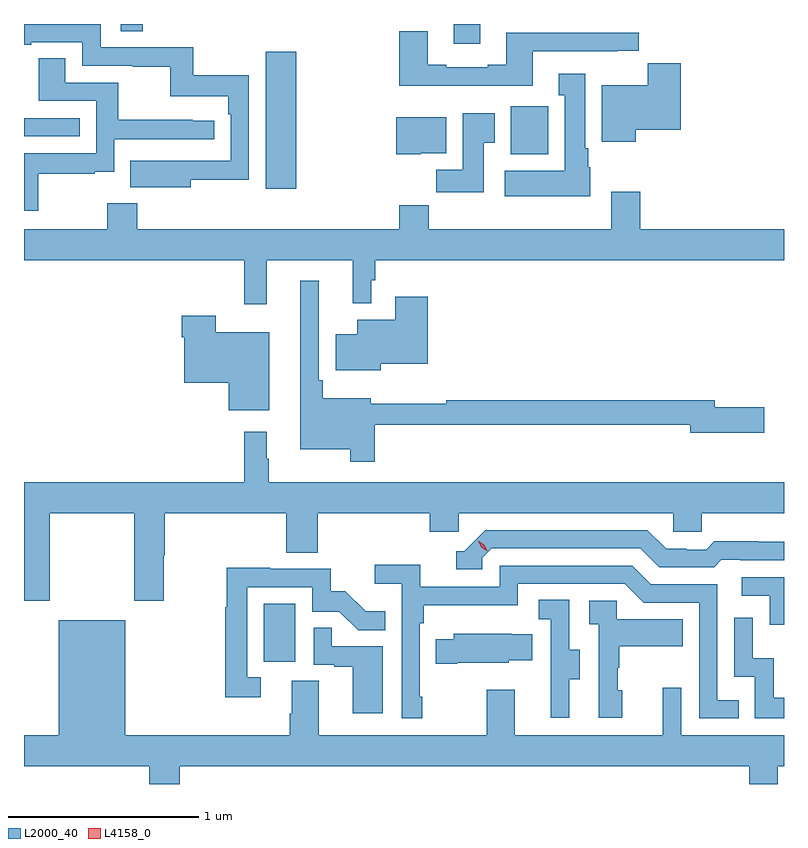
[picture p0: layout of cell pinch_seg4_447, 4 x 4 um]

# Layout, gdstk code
import gdstk
lib = gdstk.Library(unit=1e-6, precision=1e-09)
def R(c, l, rs):  # rectangles x0, y0, x1, y1
    for r in rs: c.add(gdstk.rectangle(r[:2], r[2:], *l))
def P(c, l, *ps):  # polygons
    for p in ps: c.add(gdstk.Polygon(p, *l))
L2000_40 = (2000, 40)
L4158_0 = (4158, 0)

pinch_seg4_447 = lib.new_cell('pinch_seg4_447')
R(pinch_seg4_447, L2000_40, [(926.336,782.718,926.5,783.025), (926.345,785.208,926.506,785.929), (927.635,785.39,927.831,785.641), (925.073,785.484,925.367,785.58), (927.335,785.97,927.475,786.075), (925.581,786.037,925.697,786.075)])
P(pinch_seg4_447, L2000_40, [(925.951,785.254),(926.256,785.254),(926.256,785.806),(925.963,785.806),(925.963,785.952),(925.476,785.952),(925.476,786.075),(925.073,786.075),(925.073,785.967),(925.111,785.967),(925.111,785.979),(925.38,785.979),(925.38,785.856),(925.645,785.856),(925.645,785.851),(925.842,785.851),(925.842,785.696),(926.147,785.696),(926.147,785.6),(926.16,785.6),(926.16,785.355),(925.847,785.355),(925.847,785.356),(925.633,785.356),(925.633,785.216),(925.951,785.216)],
  [(927.751,785.931),(928.199,785.931),(928.199,785.933),(928.308,785.933),(928.308,786.028),(927.611,786.028),(927.611,785.86),(927.515,785.86),(927.515,785.847),(927.295,785.847),(927.295,785.86),(927.199,785.86),(927.199,786.037),(927.047,786.037),(927.047,785.75),(927.751,785.75)],
  [(925.147,785.286),(925.445,785.286),(925.445,785.297),(925.548,785.297),(925.548,785.469),(926.074,785.469),(926.074,785.565),(925.961,785.565),(925.961,785.57),(925.568,785.57),(925.568,785.766),(925.291,785.766),(925.291,785.894),(925.151,785.894),(925.151,785.67),(925.452,785.67),(925.452,785.394),(925.073,785.394),(925.073,785.091),(925.147,785.091)],
  [(928.294,785.519),(928.529,785.519),(928.529,785.868),(928.355,785.868),(928.355,785.752),(928.115,785.752),(928.115,785.456),(928.294,785.456)],
  [(928.054,785.322),(928.042,785.322),(928.042,785.422),(928.027,785.422),(928.027,785.812),(927.887,785.812),(927.887,785.699),(927.92,785.699),(927.92,785.302),(927.603,785.302),(927.603,785.168),(928.054,785.168)],
  [(927.493,785.449),(927.55,785.449),(927.55,785.605),(927.383,785.605),(927.383,785.308),(927.244,785.308),(927.244,785.19),(927.493,785.19)],
  [(927.162,785.396),(927.295,785.396),(927.295,785.584),(927.032,785.584),(927.032,785.39),(927.162,785.39)],
  [(926.351,784.832),(926.804,784.832),(926.804,784.604),(926.901,784.604),(926.901,784.726),(926.921,784.726),(926.921,784.832),(929.073,784.832),(929.073,784.996),(928.316,784.996),(928.316,785.191),(928.163,785.191),(928.163,784.996),(927.203,784.996),(927.203,785.12),(927.047,785.12),(927.047,784.996),(925.67,784.996),(925.67,785.131),(925.51,785.131),(925.51,784.996),(925.073,784.996),(925.073,784.832),(926.233,784.832),(926.233,784.599),(926.351,784.599)],
  [(926.918,783.966),(928.58,783.966),(928.58,783.923),(928.969,783.923),(928.969,784.058),(928.708,784.058),(928.708,784.094),(927.295,784.094),(927.295,784.076),(926.899,784.076),(926.899,784.105),(926.645,784.105),(926.645,784.201),(926.625,784.201),(926.625,784.723),(926.528,784.723),(926.528,783.836),(926.79,783.836),(926.79,783.771),(926.918,783.771)],
  [(926.95,784.286),(927.197,784.286),(927.197,784.639),(927.026,784.639),(927.026,784.519),(926.828,784.519),(926.828,784.441),(926.714,784.441),(926.714,784.253),(926.95,784.253)],
  [(926.365,784.453),(926.082,784.453),(926.082,784.54),(925.904,784.54),(925.904,784.427),(925.916,784.427),(925.916,784.187),(926.15,784.187),(926.15,784.043),(926.365,784.043)],
  [(925.209,783.5),(925.654,783.5),(925.654,783.039),(925.809,783.039),(925.809,783.278),(925.814,783.278),(925.814,783.5),(926.453,783.5),(926.453,783.292),(926.618,783.292),(926.618,783.5),(927.209,783.5),(927.209,783.402),(927.36,783.402),(927.36,783.5),(928.491,783.5),(928.491,783.402),(928.641,783.402),(928.641,783.5),(929.073,783.5),(929.073,783.664),(926.362,783.664),(926.362,783.788),(926.35,783.788),(926.35,783.928),(926.233,783.928),(926.233,783.664),(925.073,783.664),(925.073,783.039),(925.209,783.039)],
  [(927.486,783.267),(927.534,783.315),(928.317,783.315),(928.416,783.216),(928.705,783.216),(928.744,783.255),(928.843,783.255),(928.843,783.252),(929.073,783.252),(929.073,783.349),(928.938,783.349),(928.938,783.352),(928.705,783.352),(928.663,783.309),(928.56,783.309),(928.56,783.312),(928.453,783.312),(928.354,783.411),(927.501,783.411),(927.39,783.3),(927.347,783.3),(927.347,783.204),(927.486,783.204)],
  [(927.169,782.533),(927.156,782.533),(927.156,782.921),(927.176,782.921),(927.176,783.017),(927.672,783.017),(927.672,783.129),(928.236,783.129),(928.335,783.03),(928.626,783.03),(928.626,782.421),(928.835,782.421),(928.835,782.517),(928.722,782.517),(928.722,783.126),(928.372,783.126),(928.273,783.225),(927.576,783.225),(927.576,783.114),(927.158,783.114),(927.158,783.23),(926.919,783.23),(926.919,783.128),(927.06,783.128),(927.06,782.421),(927.169,782.421)],
  [(926.32,782.637),(926.247,782.637),(926.247,783.111),(926.589,783.111),(926.589,782.982),(926.733,782.982),(926.831,782.884),(926.975,782.884),(926.975,782.983),(926.871,782.983),(926.764,783.09),(926.688,783.09),(926.688,783.207),(926.369,783.207),(926.369,783.212),(926.139,783.212),(926.139,783.004),(926.131,783.004),(926.131,782.532),(926.32,782.532)],
  [(929.073,783.162),(928.851,783.162),(928.851,783.066),(928.998,783.066),(928.998,782.913),(929.073,782.913)],
  [(927.943,782.626),(927.997,782.626),(927.997,782.781),(927.942,782.781),(927.942,783.044),(927.783,783.044),(927.783,782.941),(927.846,782.941),(927.846,782.637),(927.845,782.637),(927.845,782.424),(927.943,782.424)],
  [(928.222,782.568),(928.197,782.568),(928.197,782.687),(928.207,782.687),(928.207,782.801),(928.541,782.801),(928.541,782.941),(928.194,782.941),(928.194,783.039),(928.047,783.039),(928.047,782.915),(928.098,782.915),(928.098,782.424),(928.222,782.424)],
  [(929.073,782.53),(929.018,782.53),(929.018,782.738),(928.908,782.738),(928.908,782.95),(928.812,782.95),(928.812,782.64),(928.92,782.64),(928.92,782.421),(929.073,782.421)],
  [(925.892,782.168),(928.889,782.168),(928.889,782.075),(929.041,782.075),(929.041,782.168),(929.073,782.168),(929.073,782.332),(928.533,782.332),(928.533,782.581),(928.436,782.581),(928.436,782.332),(927.655,782.332),(927.655,782.572),(927.508,782.572),(927.508,782.332),(926.623,782.332),(926.623,782.618),(926.483,782.618),(926.483,782.444),(926.471,782.444),(926.471,782.332),(925.606,782.332),(925.606,782.938),(925.256,782.938),(925.256,782.332),(925.073,782.332),(925.073,782.168),(925.732,782.168),(925.732,782.075),(925.892,782.075)],
  [(926.962,782.799),(926.693,782.799),(926.693,782.897),(926.598,782.897),(926.598,782.703),(926.705,782.703),(926.705,782.691),(926.804,782.691),(926.804,782.448),(926.962,782.448)],
  [(927.352,782.714),(927.624,782.714),(927.624,782.726),(927.749,782.726),(927.749,782.863),(927.641,782.863),(927.641,782.866),(927.335,782.866),(927.335,782.836),(927.241,782.836),(927.241,782.707),(927.352,782.707)])
P(pinch_seg4_447, L4158_0, [(927.51,783.301),(927.48,783.321),(927.464,783.354),(927.464,783.354),(927.464,783.354),(927.495,783.334),(927.511,783.302),(927.511,783.301)])

lib.write_gds('pinch_seg4_447.gds')
